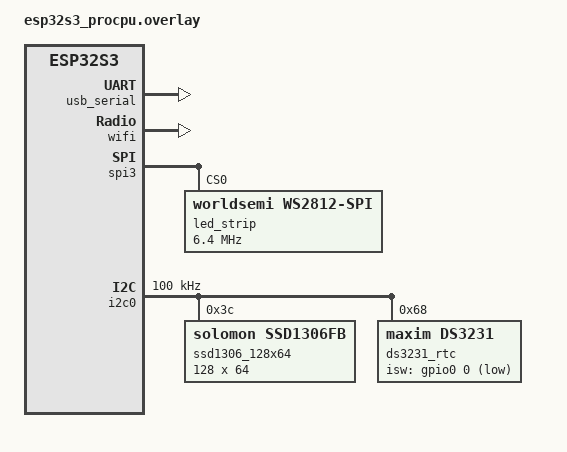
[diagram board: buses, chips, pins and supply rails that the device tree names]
/*
 * Copyright (c) 2022 Espressif Systems (Shanghai) Co., Ltd.
 *
 * SPDX-License-Identifier: Apache-2.0
 */
#include <zephyr/dt-bindings/led/led.h>


&pinctrl{
	spim3_default: spim3_default{
		group2 {
			pinmux = <SPIM3_MOSI_GPIO48>;
		};
	};
};

/ {
	chosen {
/*zephyr,console = &usb_serial;*/
/*zephyr,shell-uart = &usb_serial;*/
	 zephyr,display = &ssd1306_128x64;
	};

	aliases {
		usb-cdc = &usb_serial;
		rtc = &ds3231_rtc;
		led-strip = &led_strip;
	};

	wifi_ap: wifi_ap {
		compatible = "espressif,esp32-wifi";
		status = "okay";
	};
};



&usb_serial {
	status = "okay";
};

&wifi {
	status = "okay";
};

/* led strip configuration */

&spi3{
	/* Workaround to support WS2812 driver */
	line-idle-low;
	led_strip: ws2812@0{
		compatible = "worldsemi,ws2812-spi";
		
		/* SPI */
		reg = <0>;
		spi-max-frequency = <6400000>;

		/*WS2812*/
		chain-length = <1>;
		spi-cpha;
		spi-one-frame = <0xf0>; /* 11110000: 625 ns high and 625 ns low */
		spi-zero-frame = <0xc0>;/* 11000000: 312.5 ns high and 937.5 ns low */
   	color-mapping = <LED_COLOR_ID_GREEN
   									 LED_COLOR_ID_RED
   									 LED_COLOR_ID_BLUE>;


	};
};




/* OLED display */
&i2c0 {
	status = "okay";
	clock-frequency = <I2C_BITRATE_STANDARD>;
	pinctrl-0 = <&i2c0_default>;
	pinctrl-names = "default";
	ssd1306_128x64: ssd1306@3c {
		compatible = "solomon,ssd1306fb";
		reg = <0x3c>;
		width = <128>;
		height = <64>;
		segment-offset = <0>;
		page-offset = <0>;
		display-offset = <0>;
		multiplex-ratio = <63>;
		segment-remap;
		com-invdir;
		prechargep = <0x22>;
 		};
	ds3231_rtc: ds3231@68 {
		compatible = "maxim,ds3231";
		reg = <0x68>;	
		isw-gpios = <&gpio0 0 (GPIO_PULL_UP | GPIO_ACTIVE_LOW)>;
		};
};


&flash0 {
	status = "okay";
	partitions {
		compatible = "fixed-partitions";
		#address-cells = <1>;
		#size-cells = <1>;
	
		reserved_tx_partition: partition@260000 {
			label = "storage";
			reg = <0x00260000 0x00001000>;
		};
	
		reserved_rx_partition: partition@261000 {
			label = "storage";
			reg = <0x00261000 0x00001000>;
		};

	};
};
